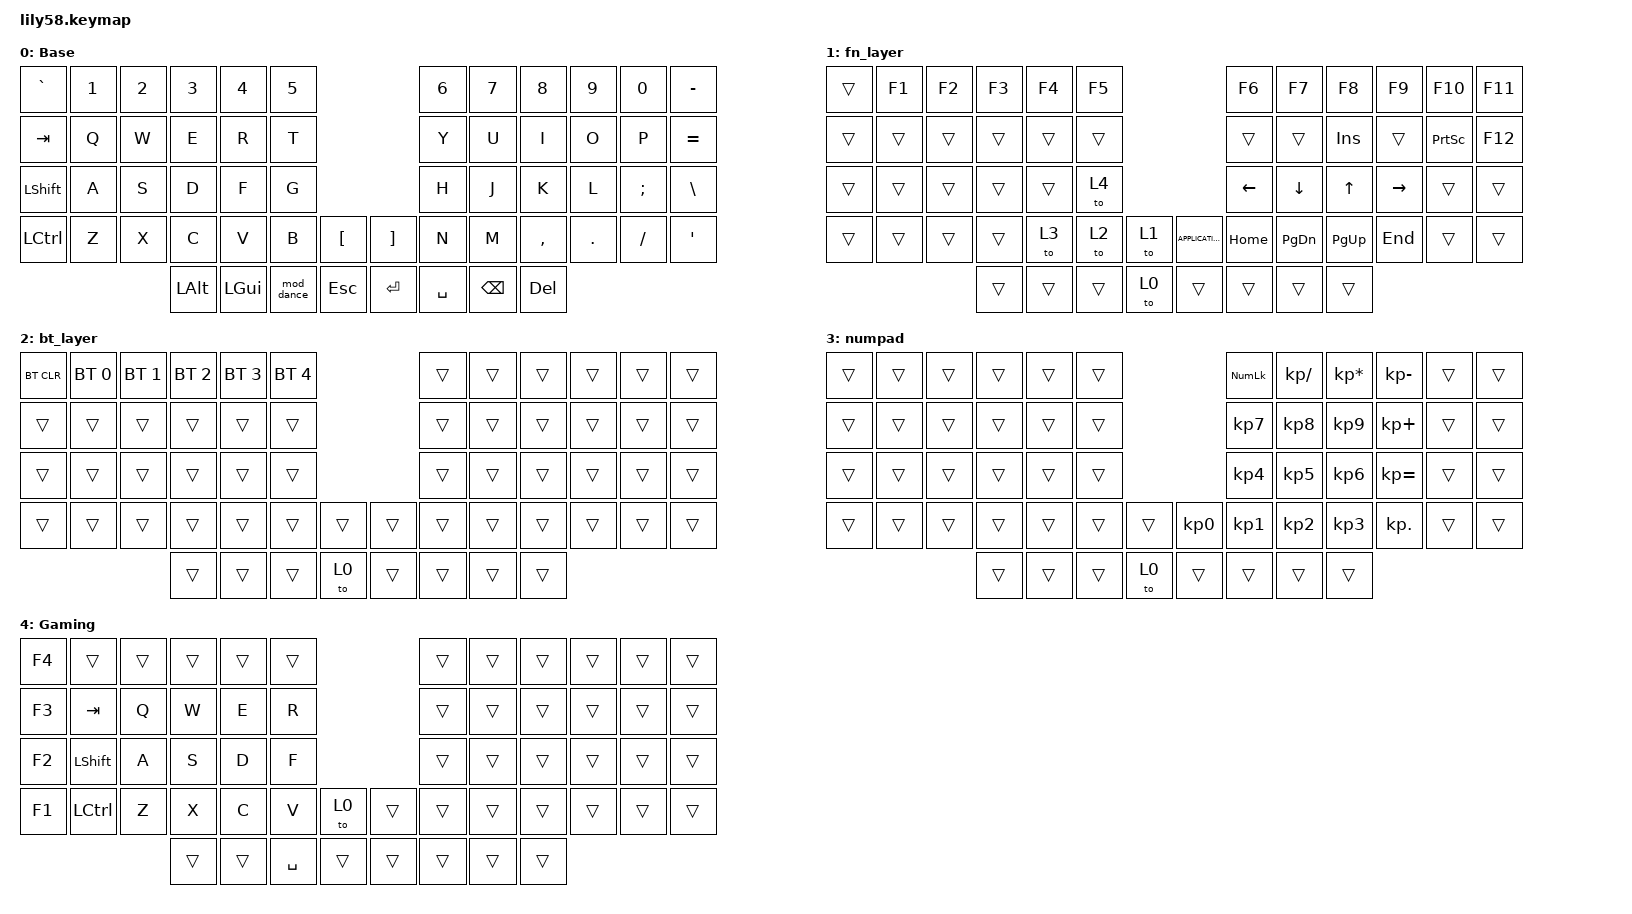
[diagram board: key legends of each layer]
/*
 * Copyright (c) 2020 The ZMK Contributors
 *
 * SPDX-License-Identifier: MIT
 */

#include <behaviors.dtsi>
#include <dt-bindings/zmk/bt.h>
#include <dt-bindings/zmk/keys.h>

/ {
    behaviors {
        mod_dance: mod_dance {
            compatible = "zmk,behavior-tap-dance";
            label = "MOD_DANCE";
            #binding-cells = <0>;
            bindings = <&mo 1>, <&to 1>;
        };
    };

    keymap {
        compatible = "zmk,keymap";

        default_layer {
            // ------------------------------------------------------------------------------------------------------------
            // |  ESC  |  1  |  2  |  3   |  4   |  5   |                   |  6   |  7    |  8    |  9   |   0   |   `   |
            // |  TAB  |  Q  |  W  |  E   |  R   |  T   |                   |  Y   |  U    |  I    |  O   |   P   |   -   |
            // |  CTRL |  A  |  S  |  D   |  F   |  G   |                   |  H   |  J    |  K    |  L   |   ;   |   '   |
            // | SHIFT |  Z  |  X  |  C   |  V   |  B   |   "["  |  |  "]"  |  N   |  M    |  ,    |  .   |   /   | SHIFT |
            //                     | ALT  | GUI  | LOWER|  SPACE |  | ENTER | RAISE| BSPC  | GUI   |

            display-name = "Base";
            bindings = <
&kp GRAVE  &kp N1  &kp N2  &kp N3    &kp N4    &kp N5                            &kp N6     &kp N7    &kp N8     &kp N9   &kp N0    &kp MINUS
&kp TAB    &kp Q   &kp W   &kp E     &kp R     &kp T                             &kp Y      &kp U     &kp I      &kp O    &kp P     &kp EQUAL
&kp LSHFT  &kp A   &kp S   &kp D     &kp F     &kp G                             &kp H      &kp J     &kp K      &kp L    &kp SEMI  &kp BACKSLASH
&kp LCTRL  &kp Z   &kp X   &kp C     &kp V     &kp B       &kp LBKT    &kp RBKT  &kp N      &kp M     &kp COMMA  &kp DOT  &kp FSLH  &kp SQT
                           &kp LALT  &kp LGUI  &mod_dance  &kp ESC     &kp RET   &kp SPACE  &kp BSPC  &kp DEL
            >;
        };

        fn_layer {
            bindings = <
&trans  &kp F1  &kp F2  &kp F3  &kp F4  &kp F5                              &kp F6          &kp F7          &kp F8        &kp F9           &kp F10    &kp F11
&trans  &trans  &trans  &trans  &trans  &trans                              &trans          &trans          &kp INS       &trans           &kp PSCRN  &kp F12
&trans  &trans  &trans  &trans  &trans  &to 4                               &kp LEFT_ARROW  &kp DOWN_ARROW  &kp UP_ARROW  &kp RIGHT_ARROW  &trans     &trans
&trans  &trans  &trans  &trans  &to 3   &to 2   &to 1    &kp K_APPLICATION  &kp HOME        &kp PAGE_DOWN   &kp PG_UP     &kp END          &trans     &trans
                        &trans  &trans  &trans  &to 0    &trans             &trans          &trans          &trans
            >;
        };

        bt_layer {
            bindings = <
&bt BT_CLR  &bt BT_SEL 0  &bt BT_SEL 1  &bt BT_SEL 2  &bt BT_SEL 3  &bt BT_SEL 4                    &trans  &trans  &trans  &trans  &trans  &trans
&trans      &trans        &trans        &trans        &trans        &trans                          &trans  &trans  &trans  &trans  &trans  &trans
&trans      &trans        &trans        &trans        &trans        &trans                          &trans  &trans  &trans  &trans  &trans  &trans
&trans      &trans        &trans        &trans        &trans        &trans        &trans    &trans  &trans  &trans  &trans  &trans  &trans  &trans
                                        &trans        &trans        &trans        &to 0     &trans  &trans  &trans  &trans
            >;
        };

        numpad {
            bindings = <
&trans  &trans  &trans  &trans  &trans  &trans                       &kp KP_NUMLOCK  &kp KP_DIVIDE  &kp KP_MULTIPLY  &kp KP_SUBTRACT  &trans  &trans
&trans  &trans  &trans  &trans  &trans  &trans                       &kp KP_N7       &kp KP_N8      &kp KP_N9        &kp KP_PLUS      &trans  &trans
&trans  &trans  &trans  &trans  &trans  &trans                       &kp KP_N4       &kp KP_N5      &kp KP_N6        &kp KP_EQUAL     &trans  &trans
&trans  &trans  &trans  &trans  &trans  &trans  &trans    &kp KP_N0  &kp KP_N1       &kp KP_N2      &kp KP_N3        &kp KP_DOT       &trans  &trans
                        &trans  &trans  &trans  &to 0     &trans     &trans          &trans         &trans
            >;
        };

        Gaming {
            bindings = <
&kp F4  &trans            &trans  &trans  &trans  &trans                       &trans  &trans  &trans  &trans  &trans  &trans
&kp F3  &kp TAB           &kp Q   &kp W   &kp E   &kp R                        &trans  &trans  &trans  &trans  &trans  &trans
&kp F2  &kp LEFT_SHIFT    &kp A   &kp S   &kp D   &kp F                        &trans  &trans  &trans  &trans  &trans  &trans
&kp F1  &kp LEFT_CONTROL  &kp Z   &kp X   &kp C   &kp V      &to 0     &trans  &trans  &trans  &trans  &trans  &trans  &trans
                                  &trans  &trans  &kp SPACE  &trans    &trans  &trans  &trans  &trans
            >;
        };

        extra_1 {
            status = "reserved";
        };

        extra_2 {
            status = "reserved";
        };

        extra_3 {
            status = "reserved";
        };
    };
};
